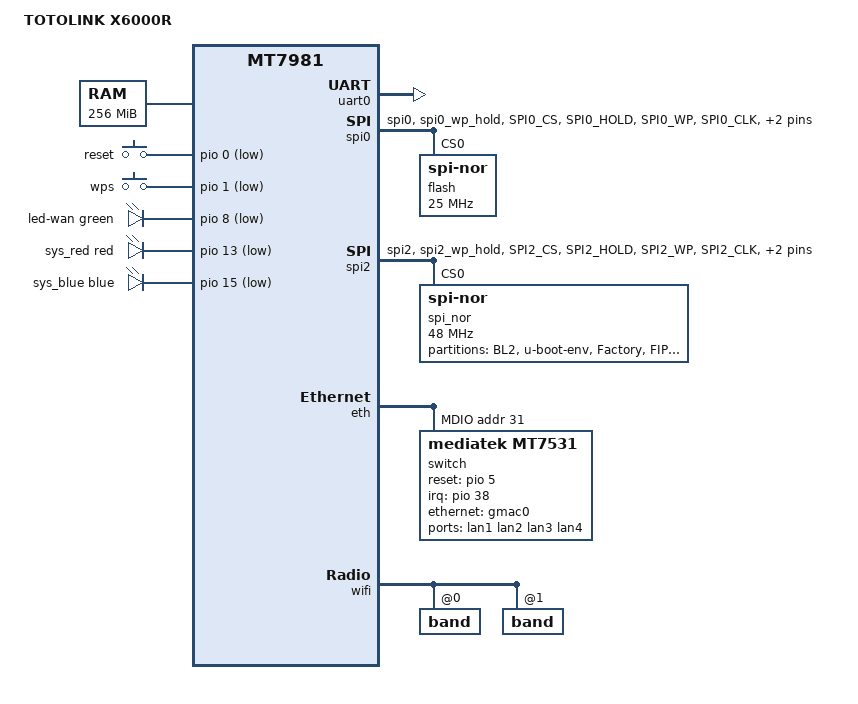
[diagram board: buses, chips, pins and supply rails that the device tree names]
// SPDX-License-Identifier: GPL-2.0-or-later OR MIT

/dts-v1/;
#include <dt-bindings/gpio/gpio.h>
#include <dt-bindings/input/input.h>
#include <dt-bindings/leds/common.h>

#include "mt7981b.dtsi"

/ {
	model = "TOTOLINK X6000R";
	compatible = "totolink,x6000r", "mediatek,mt7981";

	aliases {
		serial0 = &uart0;
		led-boot = &sys_blue;
		led-failsafe = &sys_red;
		led-running = &sys_blue;
		led-upgrade = &sys_blue;
		wan = &gmac1;
	};

	chosen {
		stdout-path = "serial0:115200n8";
	};

	memory {
		reg = <0 0x40000000 0 0x10000000>;
	};

	gpio-keys {
		compatible = "gpio-keys";

		button-0 {
			label = "reset";
			linux,code = <KEY_RESTART>;
			gpios = <&pio 0 GPIO_ACTIVE_LOW>;
			debounce-interval = <60>;
		};

		button-1 {
			label = "wps";
			linux,code = <KEY_WPS_BUTTON>;
			gpios = <&pio 1 GPIO_ACTIVE_LOW>;
			debounce-interval = <60>;
		};
	};

	gpio-leds {
		compatible = "gpio-leds";

		led-wan {
			color = <LED_COLOR_ID_GREEN>;
			function = LED_FUNCTION_WAN;
			gpios = <&pio 8 GPIO_ACTIVE_LOW>;
		};

		sys_red: led-status-red {
			color = <LED_COLOR_ID_RED>;
			function = LED_FUNCTION_STATUS;
			gpios = <&pio 13 GPIO_ACTIVE_LOW>;
		};

		sys_blue: led-status-blue {
			color = <LED_COLOR_ID_BLUE>;
			function = LED_FUNCTION_STATUS;
			gpios = <&pio 15 GPIO_ACTIVE_LOW>;
			default-state = "on";
		};
	};
};

&uart0 {
	status = "okay";
};

&pio {
	spi0_flash_pins: spi0-pins {
		mux {
			function = "spi";
			groups = "spi0", "spi0_wp_hold";
		};

		conf-pu {
			pins = "SPI0_CS", "SPI0_HOLD", "SPI0_WP";
			drive-strength = <MTK_DRIVE_8mA>;
			bias-pull-up = <MTK_PUPD_SET_R1R0_11>;
		};

		conf-pd {
			pins = "SPI0_CLK", "SPI0_MOSI", "SPI0_MISO";
			drive-strength = <MTK_DRIVE_8mA>;
			bias-pull-up = <MTK_PUPD_SET_R1R0_11>;
		};
	};

	spi2_flash_pins: spi2-pins {
		mux {
			function = "spi";
			groups = "spi2", "spi2_wp_hold";
		};

		conf-pu {
			pins = "SPI2_CS", "SPI2_HOLD", "SPI2_WP";
			drive-strength = <MTK_DRIVE_8mA>;
			bias-pull-up = <MTK_PUPD_SET_R1R0_11>;
		};

		conf-pd {
			pins = "SPI2_CLK", "SPI2_MOSI", "SPI2_MISO";
			drive-strength = <MTK_DRIVE_8mA>;
			bias-pull-up = <MTK_PUPD_SET_R1R0_11>;
		};
	};
};

&spi0 {
	pinctrl-names = "default";
	pinctrl-0 = <&spi0_flash_pins>;
	status = "okay";

	flash@0 {
		compatible = "jedec,spi-nor";
		reg = <0>;
		spi-max-frequency = <25000000>;
		broken-flash-reset;
	};
};

&spi2 {
	pinctrl-names = "default";
	pinctrl-0 = <&spi2_flash_pins>;
	status = "okay";

	spi_nor: flash@0 {
		#address-cells = <1>;
		#size-cells = <1>;
		compatible = "jedec,spi-nor";
		reg = <0>;
		spi-max-frequency = <48000000>;
		spi-tx-bus-width = <4>;
		spi-rx-bus-width = <4>;

		partitions {
			compatible = "fixed-partitions";
			#address-cells = <1>;
			#size-cells = <1>;

			partition@00000 {
				label = "BL2";
				reg = <0x00000 0x40000>;
				read-only;
			};

			partition@40000 {
				label = "u-boot-env";
				reg = <0x40000 0x10000>;
				read-only;
			};

			factory: partition@50000 {
				label = "Factory";
				reg = <0x50000 0xb0000>;
				read-only;

				nvmem-layout {
					compatible = "fixed-layout";
					#address-cells = <1>;
					#size-cells = <1>;

					eeprom_factory_0: eeprom@0 {
						reg = <0x0 0x1000>;
					};

					mac_lan: macaddr@4 {
						reg = <0x04 0x6>;
					};

					mac_wan: macaddr@a {
						reg = <0x0a 0x6>;
					};

					mac_wifi_2g: macaddr@14 {
						reg = <0x14 0x6>;
					};

					mac_wifi_5g: macaddr@1a {
						reg = <0x1a 0x6>;
					};
				};
			};

			partition@100000 {
				label = "FIP";
				reg = <0x100000 0x80000>;
				read-only;
			};

			partition@180000 {
				label = "firmware";
				reg = <0x180000 0xe00000>;
			};
		};
	};
};

&eth {
	status = "okay";

	gmac0: mac@0 {
		compatible = "mediatek,eth-mac";
		reg = <0>;
		phy-mode = "2500base-x";
		nvmem-cells = <&mac_lan>;
		nvmem-cell-names = "mac-address";

		fixed-link {
			speed = <2500>;
			full-duplex;
			pause;
		};
	};

	gmac1: mac@1 {
		compatible = "mediatek,eth-mac";
		reg = <1>;
		phy-mode = "gmii";
		nvmem-cells = <&mac_wan>;
		nvmem-cell-names = "mac-address";
		phy-handle = <&int_gbe_phy>;
	};

	mdio: mdio-bus {
		#address-cells = <1>;
		#size-cells = <0>;

		switch@1f {
			compatible = "mediatek,mt7531";
			reg = <31>;
			interrupt-controller;
			#interrupt-cells = <1>;
			interrupt-parent = <&pio>;
			interrupts = <38 IRQ_TYPE_LEVEL_HIGH>;
			reset-gpios = <&pio 5 GPIO_ACTIVE_HIGH>;

			ports {
				#address-cells = <1>;
				#size-cells = <0>;

				port@0 {
					reg = <0>;
					label = "lan1";
				};

				port@1 {
					reg = <1>;
					label = "lan2";
				};

				port@2 {
					reg = <2>;
					label = "lan3";
				};

				port@3 {
					reg = <3>;
					label = "lan4";
				};

				port@6 {
					reg = <6>;
					ethernet = <&gmac0>;
					phy-mode = "2500base-x";

					fixed-link {
						speed = <2500>;
						full-duplex;
						pause;
					};
				};
			};
		};
	};
};

&wifi {
	status = "okay";
	nvmem-cell-names = "eeprom";
	nvmem-cells = <&eeprom_factory_0>;

	band@0 {
		reg = <0>;
		nvmem-cells = <&mac_wifi_2g>;
		nvmem-cell-names = "mac-address";
	};

	band@1 {
		reg = <1>;
		nvmem-cells = <&mac_wifi_5g>;
		nvmem-cell-names = "mac-address";
	};
};
